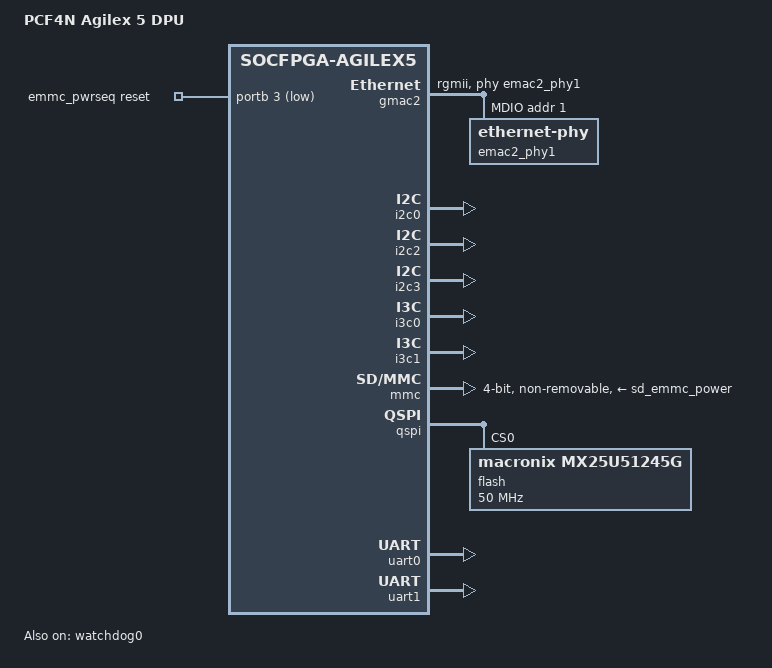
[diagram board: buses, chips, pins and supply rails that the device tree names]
// SPDX-License-Identifier: GPL-2.0-only

#include "socfpga_agilex5.dtsi"

/ {
	model = "PCF4N Agilex 5 DPU";
	compatible = "pcf4n,agilex5-dpu", "intel,socfpga-agilex5";

	aliases {
		serial0 = &uart0;
		serial1 = &uart1;
		ethernet0 = &gmac2;
		i2c0 = &i2c0;
		i2c2 = &i2c2;
		i2c3 = &i2c3;
		i3c0 = &i3c0;
		i3c1 = &i3c1;
		usb0 = &usb0;
		usb1 = &usb31;
	};

	chosen {
		/* UART1 reaches USB Type-C during board bring-up. */
		stdout-path = "serial1:115200n8";
	};

	emmc_pwrseq: emmc-pwrseq {
		compatible = "mmc-pwrseq-emmc";
		/* HPS GPIO27 is GPIO1/port B line 3; eMMC reset is active low. */
		reset-gpios = <&portb 3 GPIO_ACTIVE_LOW>;
	};

	memory@80000000 {
		device_type = "memory";
		/* U-Boot replaces the size from the Quartus handoff. */
		reg = <0x0 0x80000000 0x0 0x0>;
	};
};

&gmac0 {
	status = "disabled";
};

&gmac1 {
	status = "disabled";
};

&gmac2 {
	status = "okay";
	phy-mode = "rgmii";
	phy-handle = <&emac2_phy1>;
	max-frame-size = <9000>;

	mdio0 {
		#address-cells = <1>;
		#size-cells = <0>;
		compatible = "snps,dwmac-mdio";

		emac2_phy1: ethernet-phy@1 {
			reg = <1>;
		};
	};
};

&i2c0 {
	/* Optical module 0 management. */
	status = "okay";
};

&i2c2 {
	/* I2C_EMAC0 is wired as the board power-management bus. */
	status = "okay";
};

&i2c3 {
	/* I2C_EMAC1 is wired to optical module 1 management. */
	status = "okay";
};

&i2c4 {
	/* I2C_EMAC2 shares pins with MDIO2; EMAC2 PHY management owns them. */
	status = "disabled";
};

&i3c0 {
	/* Optical module 2 is a legacy-I2C target on this controller. */
	i2c-scl-hz = <100000>;
	status = "okay";
};

&i3c1 {
	/* Optical module 3 is a legacy-I2C target on this controller. */
	i2c-scl-hz = <100000>;
	status = "okay";
};

&gpio1 {
	status = "okay";
};

&mmc {
	status = "okay";
	bus-width = <4>;
	non-removable;
	no-sd;
	no-sdio;
	disable-wp;
	cap-mmc-highspeed;
	mmc-pwrseq = <&emmc_pwrseq>;
	/* The device core is powered at 3.3 V; its I/O rail is fixed at 1.8 V. */
	vmmc-supply = <&sd_emmc_power>;
	vqmmc-supply = <&emmc_io_1v8_reg>;
	max-frequency = <52000000>;
};

&osc1 {
	clock-frequency = <25000000>;
};

&qspi {
	status = "okay";

	flash@0 {
		compatible = "macronix,mx25u51245g", "jedec,spi-nor";
		reg = <0>;
		spi-max-frequency = <50000000>;
		spi-tx-bus-width = <4>;
		spi-rx-bus-width = <4>;
	};
};

&smmu {
	status = "okay";
};

&uart0 {
	status = "okay";
};

&uart1 {
	status = "okay";
};

&watchdog0 {
	status = "okay";
};
